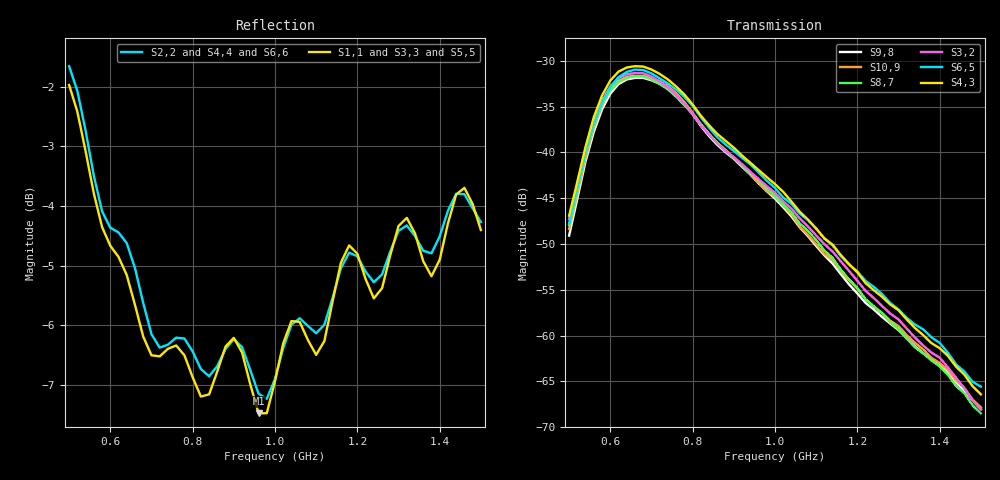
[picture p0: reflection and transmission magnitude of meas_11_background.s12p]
! Converted from meas_11_background.mat
! MATLAB 5.0 MAT-file, Platform: PCWIN64, Created on: Sat Nov 21 15:22:21 2026
! Ports 1-12 = antennas 1-12; IFBW=1000 Hz, power=0 dBm, doCalibration flag=0
! SW_A serial 12410080206: antennas 1 3 5 7 9 11
! SW_B serial 12410080235: antennas 2 4 6 8 10 12
! WARNING: Sij (i!=j) between two odd or two even ports was NOT MEASURED (NaN in source).
! Those entries are written as 0 0 placeholders. Do not treat them as data.
! Reference impedance 50 ohm is assumed (not stored in source).
# Hz S RI R 50
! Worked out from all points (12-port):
!   51 points, 500 MHz to 1.5 GHz, reference 50 ohm
!   strongest paths, dB at 500 MHz, 740 MHz, 1 GHz, 1.26 GHz, 1.5 GHz:
!     S4,3: -46.9, -32.0, -43.5, -55.8, -66.4
!     S6,5: -47.8, -32.5, -43.9, -55.5, -65.6
!     S3,2: -47.3, -32.9, -44.4, -56.8, -68.1
!     S8,7: -47.9, -33.1, -44.7, -57.6, -68.5
!     S10,9: -48.4, -32.7, -44.8, -57.5, -67.8
!     S9,8: -49.1, -33.1, -45.0, -58.0, -68.0
!   lowest |S11| = -7.5 dB at 960 MHz (marker M1), VSWR 2.47, Z = 24.3 - j20 ohm
!   |S11| at or under -10 dB: nowhere
